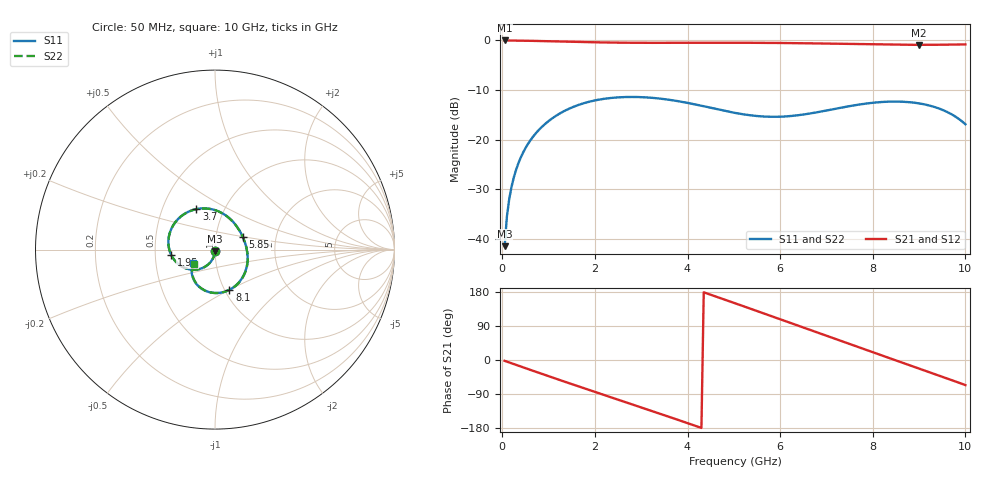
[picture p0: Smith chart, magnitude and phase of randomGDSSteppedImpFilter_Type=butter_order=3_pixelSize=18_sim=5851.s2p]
! freq	dB(S11)	phase(S11)	dB(S12)	phase(S12)
!  dB(S21)	phase(S21)	dB(S22)	phase(S22)
!S-par simulation data
#  GHz  S  DB  R 50
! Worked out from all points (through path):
!   200 points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, 50 MHz to 10 GHz, reference 50 ohm
!   highest |S21| = 0.00 dB at 50 MHz (marker M1); lowest = -0.9 dB at 9 GHz (marker M2)
!   group delay of S21, straight-line fit = 118 ps
!   lowest |S11| = -41.5 dB at 50 MHz (marker M3), VSWR 1.02, Z = 50 - j0.844 ohm
!   |S11| at or under -10 dB: start of sweep to end of sweep
!   |S22| runs from -41.5 to -11.4 dB; largest |S21 - S12| = 0
!   S11 on the Smith chart (normalised r, x): 50 MHz: 1.00, -0.02; 1.95 GHz: 0.61, -0.04; 3.7 GHz: 0.74, +0.36; 5.85 GHz: 1.35, +0.19; 8.1 GHz: 1.05, -0.50; 10 GHz: 0.78, -0.12
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0.05  -41.46 -91.8  -0.00 -2.2  -0.00 -2.2  -41.46 -91.8
0.1  -35.46 -94.2  -0.01 -4.3  -0.01 -4.3  -35.46 -94.2
0.2  -29.48 -98.8  -0.02 -8.7  -0.02 -8.7  -29.48 -98.8
0.35  -24.69 -105.5  -0.04 -15.1  -0.04 -15.1  -24.69 -105.5
0.5  -21.71 -112.1  -0.06 -21.5  -0.06 -21.5  -21.71 -112.1
1  -16.24 -133.5  -0.15 -42.7  -0.15 -42.7  -16.24 -133.4
1.75  -12.68 -164.9  -0.32 -73.9  -0.32 -73.9  -12.68 -164.8
1.95  -12.19 -173.2  -0.36 -82.1  -0.36 -82.1  -12.19 -173.1
2.65  -11.41 158.2  -0.46 -110.7  -0.46 -110.7  -11.41 158.3
3.4  -11.71 127.4  -0.48 -141.5  -0.48 -141.5  -11.71 127.6
3.7  -12.09 114.9  -0.48 -154.0  -0.48 -154.0  -12.09 115.2
4.4  -13.37 85.3  -0.46 176.5  -0.46 176.5  -13.37 85.8
5.05  -14.64 57.7  -0.46 148.7  -0.46 148.7  -14.64 58.5
5.85  -15.39 23.8  -0.50 114.1  -0.50 114.1  -15.39 24.8
6.3  -15.17 4.8  -0.54 94.5  -0.54 94.5  -15.16 5.9
6.7  -14.64 -11.9  -0.59 77.1  -0.59 77.1  -14.63 -10.8
7.45  -13.32 -43.3  -0.70 44.4  -0.70 44.4  -13.31 -42.2
8.1  -12.47 -70.3  -0.81 16.2  -0.81 16.2  -12.46 -69.3
8.35  -12.33 -80.6  -0.84 5.4  -0.84 5.4  -12.33 -79.7
9  -12.69 -107.3  -0.89 -22.5  -0.89 -22.5  -12.68 -106.3
9.5  -13.97 -127.9  -0.86 -44.1  -0.86 -44.1  -13.96 -126.7
10  -16.89 -148.0  -0.80 -66.2  -0.80 -66.2  -16.86 -146.4
